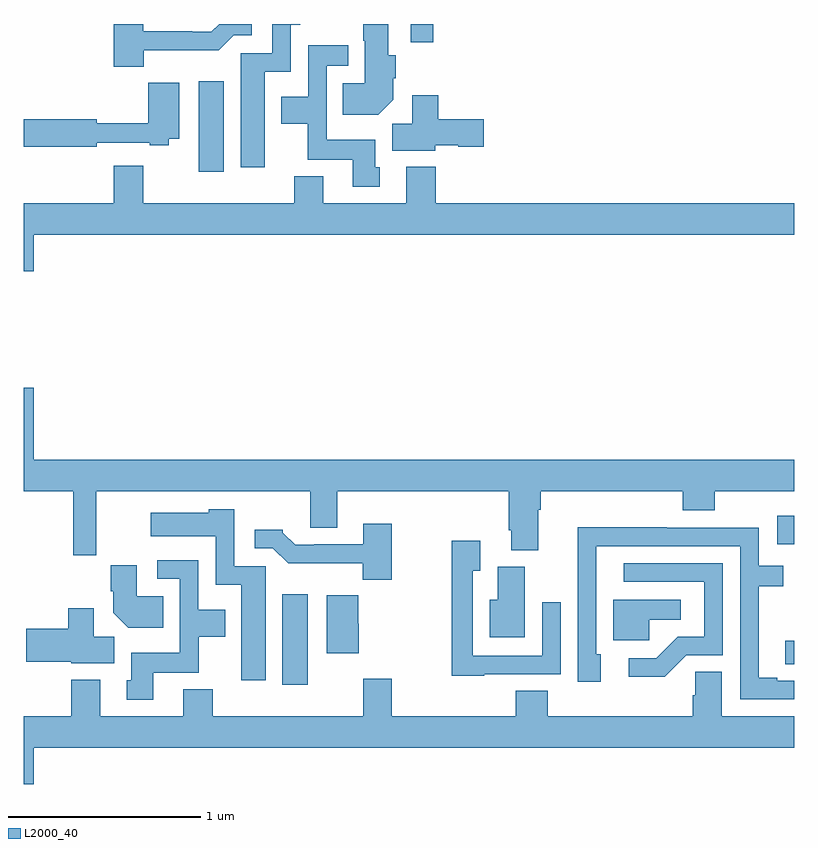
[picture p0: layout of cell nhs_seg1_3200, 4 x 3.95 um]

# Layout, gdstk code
import gdstk
lib = gdstk.Library(unit=1e-6, precision=1e-09)
def R(c, l, rs):  # rectangles x0, y0, x1, y1
    for r in rs: c.add(gdstk.rectangle(r[:2], r[2:], *l))
def P(c, l, *ps):  # polygons
    for p in ps: c.add(gdstk.Polygon(p, *l))
L2000_40 = (2000, 40)

nhs_seg1_3200 = lib.new_cell('nhs_seg1_3200')
R(nhs_seg1_3200, L2000_40, [(286.343,510.768,286.474,511.237), (288.954,510.874,289,510.996), (288.912,511.497,289,511.645), (285.908,513.432,286.039,513.901), (287.01,514.104,287.126,514.199)])
P(nhs_seg1_3200, L2000_40, [(285.622,514.062),(286.011,514.062),(286.089,514.14),(286.183,514.14),(286.183,514.199),(286.015,514.199),(285.974,514.158),(285.875,514.158),(285.875,514.161),(285.619,514.161),(285.619,514.199),(285.467,514.199),(285.467,513.977),(285.622,513.977)],
  [(286.918,513.806),(286.918,513.916),(286.931,513.916),(286.931,514.038),(286.891,514.038),(286.891,514.199),(286.762,514.199),(286.762,514.112),(286.769,514.112),(286.769,513.892),(286.657,513.892),(286.657,513.728),(286.84,513.728)],
  [(286.252,513.95),(286.386,513.95),(286.386,514.195),(286.434,514.195),(286.434,514.199),(286.29,514.199),(286.29,514.047),(286.127,514.047),(286.127,513.456),(286.252,513.456)],
  [(286.849,513.456),(286.825,513.456),(286.825,513.598),(286.572,513.598),(286.572,513.981),(286.684,513.981),(286.684,514.089),(286.476,514.089),(286.476,513.82),(286.337,513.82),(286.337,513.68),(286.474,513.68),(286.474,513.494),(286.709,513.494),(286.709,513.354),(286.849,513.354)],
  [(285.378,513.582),(285.653,513.582),(285.653,513.57),(285.753,513.57),(285.753,513.602),(285.808,513.602),(285.808,513.895),(285.646,513.895),(285.646,513.683),(285.378,513.683),(285.378,513.704),(285,513.704),(285,513.562),(285.378,513.562)],
  [(287.136,513.569),(287.256,513.569),(287.256,513.562),(287.389,513.562),(287.389,513.704),(287.153,513.704),(287.153,513.829),(287.018,513.829),(287.018,513.68),(286.913,513.68),(286.913,513.542),(287.136,513.542)],
  [(285.052,513.104),(289,513.104),(289,513.268),(287.138,513.268),(287.138,513.457),(286.985,513.457),(286.985,513.268),(286.555,513.268),(286.555,513.409),(286.403,513.409),(286.403,513.268),(285.619,513.268),(285.619,513.463),(285.467,513.463),(285.467,513.268),(285,513.268),(285,512.916),(285.052,512.916)],
  [(285.377,511.772),(286.487,511.772),(286.487,511.582),(286.627,511.582),(286.627,511.772),(287.519,511.772),(287.519,511.57),(287.531,511.57),(287.531,511.465),(287.671,511.465),(287.671,511.676),(287.684,511.676),(287.684,511.772),(288.422,511.772),(288.422,511.673),(288.587,511.673),(288.587,511.772),(289,511.772),(289,511.936),(285.052,511.936),(285.052,512.311),(285,512.311),(285,511.772),(285.256,511.772),(285.256,511.44),(285.377,511.44)],
  [(286.255,511.383),(286.092,511.383),(286.092,511.678),(285.96,511.678),(285.96,511.66),(285.66,511.66),(285.66,511.538),(285.996,511.538),(285.996,511.286),(286.13,511.286),(286.13,510.792),(286.255,510.792)],
  [(286.911,511.603),(286.763,511.603),(286.763,511.497),(286.507,511.497),(286.507,511.494),(286.408,511.494),(286.344,511.558),(286.344,511.573),(286.2,511.573),(286.2,511.476),(286.293,511.476),(286.372,511.398),(286.761,511.398),(286.761,511.313),(286.911,511.313)],
  [(289,510.789),(288.913,510.789),(288.913,510.804),(288.817,510.804),(288.817,511.278),(288.944,511.278),(288.944,511.386),(288.816,511.386),(288.816,511.584),(288.338,511.584),(288.338,511.586),(287.876,511.586),(287.876,511.282),(287.877,511.282),(287.877,510.783),(287.995,510.783),(287.995,510.927),(287.973,510.927),(287.973,511.488),(288.72,511.488),(288.72,510.693),(289,510.693)],
  [(287.391,510.822),(287.787,510.822),(287.787,511.195),(287.691,511.195),(287.691,510.918),(287.331,510.918),(287.331,511.36),(287.371,511.36),(287.371,511.516),(287.223,511.516),(287.223,510.815),(287.391,510.815)],
  [(285.673,510.83),(285.909,510.83),(285.909,511.016),(286.045,511.016),(286.045,511.156),(285.906,511.156),(285.906,511.413),(285.693,511.413),(285.693,511.317),(285.81,511.317),(285.81,510.934),(285.557,510.934),(285.557,510.792),(285.533,510.792),(285.533,510.69),(285.673,510.69)],
  [(288.441,510.921),(288.63,510.921),(288.63,511.398),(288.114,511.398),(288.114,511.302),(288.534,511.302),(288.534,511.017),(288.396,511.017),(288.285,510.906),(288.141,510.906),(288.141,510.809),(288.328,510.809)],
  [(285.725,511.228),(285.586,511.228),(285.586,511.387),(285.452,511.387),(285.452,511.252),(285.464,511.252),(285.464,511.142),(285.542,511.064),(285.725,511.064)],
  [(287.602,511.38),(287.462,511.38),(287.462,511.21),(287.42,511.21),(287.42,511.013),(287.602,511.013)],
  [(286.738,511.083),(286.736,511.083),(286.736,511.231),(286.574,511.231),(286.574,510.93),(286.738,510.93)],
  [(288.249,511.106),(288.412,511.106),(288.412,511.21),(288.062,511.21),(288.062,510.999),(288.249,510.999)],
  [(285.469,511.016),(285.364,511.016),(285.364,511.165),(285.23,511.165),(285.23,511.058),(285.012,511.058),(285.012,510.887),(285.246,510.887),(285.246,510.878),(285.469,510.878)],
  [(285,510.252),(285.052,510.252),(285.052,510.44),(289,510.44),(289,510.604),(288.625,510.604),(288.625,510.836),(288.486,510.836),(288.486,510.713),(288.473,510.713),(288.473,510.604),(287.72,510.604),(287.72,510.737),(287.555,510.737),(287.555,510.604),(286.911,510.604),(286.911,510.799),(286.763,510.799),(286.763,510.604),(285.98,510.604),(285.98,510.745),(285.827,510.745),(285.827,510.604),(285.397,510.604),(285.397,510.793),(285.245,510.793),(285.245,510.604),(285,510.604)])

lib.write_gds('nhs_seg1_3200.gds')
